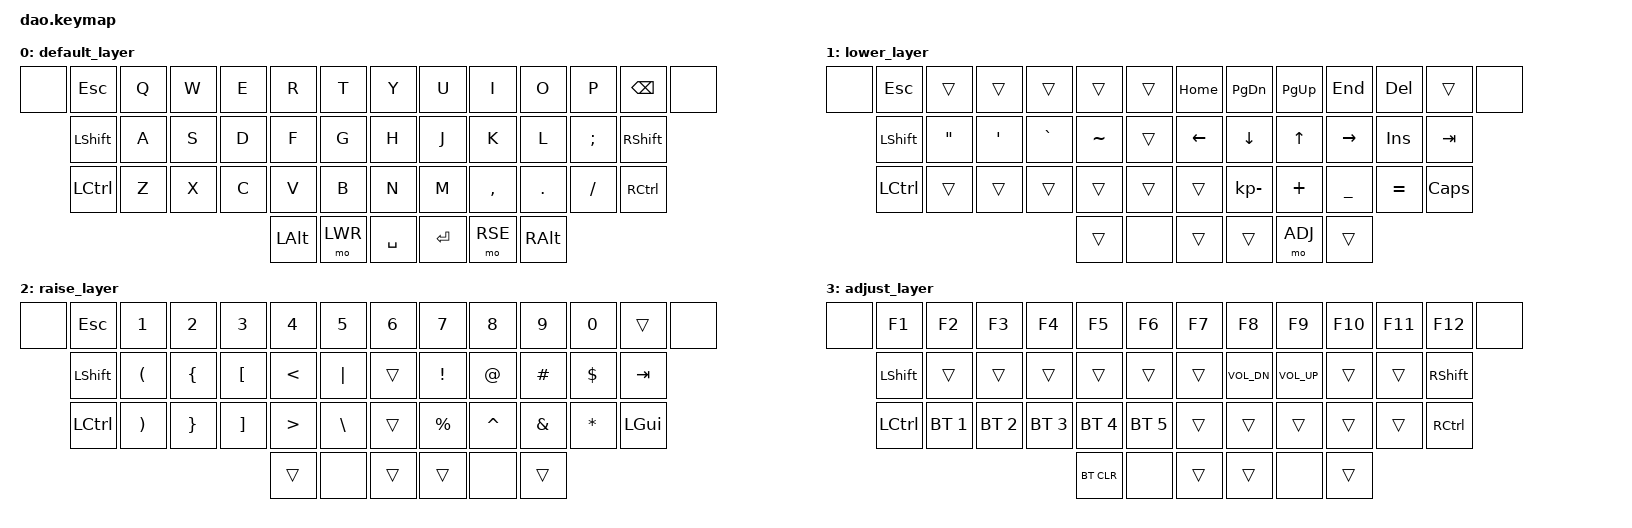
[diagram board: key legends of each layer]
/*
 * Copyright (c) 2020 The ZMK Contributors
 *
 * SPDX-License-Identifier: MIT
 * To use home rows - &hm LSHFT F
 */

#include <behaviors.dtsi>
#include <dt-bindings/zmk/keys.h>
#include <dt-bindings/zmk/bt.h>

#define DEF 0
#define LWR 1
#define RSE 2
#define ADJ 3

/ {
    
    keymap {
        compatible = "zmk,keymap";

        default_layer {
    // .-------------------------------------------------------------.       .----------------------------------------------------------------.
    // |   ESC        |    Q   |    W   |   E    |    R    |    T    |       |   Y     |    U    |    I    |    O    |     P    |     BSPC    |
    // |--------------+--------+--------+--------+---------+---------|       |---------+---------+---------+---------+----------+-------------|
    // |   SHIFT      |    A   |    S   |   D    |    F    |    G    |       |   H     |    J    |    K    |    L    |    ;:    |    SHIFT    |
    // |--------------+--------+--------+--------+---------+---------|       |---------+---------+---------+---------+----------+-------------|
    // |   CTRL       |    Z   |    X   |   C    |    V    |    B    |       |   N     |    M    |    ,    |    .    |    /?    |     CTRL    |
    // '--------------------------------+--------+---------+---------+       |---------+---------+---------+----------------------------------'
    //                                  |  ALT   |   LWR   |   SPC   |       |  ENT    |   RSE   |   ALT   |
    //                                  '--------+---------+---------'       '---------+---------+---------'
        bindings = <
          &none &kp ESC     &kp Q  &kp W  &kp E  &kp R      &kp T       &kp Y      &kp U    &kp I      &kp O     &kp P      &kp BSPC     &none
                &kp LSHIFT  &kp A  &kp S  &kp D  &kp F      &kp G       &kp H      &kp J    &kp K      &kp L     &kp SEMI   &kp RSHIFT
                &kp LCTRL   &kp Z  &kp X  &kp C  &kp V      &kp B       &kp N      &kp M    &kp COMMA  &kp DOT   &kp FSLH   &kp RCTRL
                                                 &kp LALT   &mo LWR     &kp SPACE  &kp RET  &mo RSE    &kp RALT
            >;
        };
                    
        lower_layer {
    // .-------------------------------------------------------------.       .----------------------------------------------------------------.
    // |   ESC        |        |        |        |         |         |       |   HOME  |    PD   |    PU   |   END   |    DEL   |             |
    // |--------------+--------+--------+--------+---------+---------|       |---------+---------+---------+---------+----------+-------------|
    // |   SHFT       |    "   |    '   |    `   |    ~    |         |       |   LEFT  |   DOWN  |    UP   |  RIGHT  |    INS   |     TAB     |
    // |--------------+--------+--------+--------+---------+---------|       |---------+---------+---------+---------+----------+-------------|
    // |   CTRL       |        |        |        |         |         |       |         |    -    |    +    |    _    |     =    |     CAPS    |
    // '--------------------------------+--------+---------+---------+       |---------+---------+---------+----------------------------------'
    //                                  |  ALT   |         |   SPC   |       |   ENT   |   ADJ   |   ALT   |
    //                                  '--------+---------+---------'       '---------+---------+---------'
          bindings = <
          &none &kp ESC     &trans  &trans  &trans    &trans     &trans      &kp HOME  &kp PG_DN    &kp PG_UP  &kp END    &kp DEL    &trans    &none
                &kp LSHIFT  &kp DQT &kp SQT &kp GRAVE &kp TILDE  &trans      &kp LEFT  &kp DOWN     &kp UP     &kp RIGHT  &kp INS    &kp TAB
                &kp LCTRL   &trans  &trans  &trans    &trans     &trans      &trans    &kp KP_MINUS &kp PLUS   &kp UNDER  &kp EQUAL  &kp CAPS
                                            &trans    &none      &trans      &trans    &mo ADJ      &trans
            >;
        };
                    
        raise_layer {
    // .-------------------------------------------------------------.       .----------------------------------------------------------------.
    // |   ESC        |    1   |    2   |    3   |    4    |    5    |       |    6    |    7    |    8    |    9    |     0    |     BSPC    |
    // |--------------+--------+--------+--------+---------+---------|       |---------+---------+---------+---------+----------+-------------|
    // |   SHFT       |    (   |    {   |    [   |    <    |    |    |       |         |    !    |    @    |    #    |     $    |     TAB     |
    // |--------------+--------+--------+--------+---------+---------|       |---------+---------+---------+---------+----------+-------------|
    // |   CTRL       |    )   |    }   |    ]   |    >    |    \    |       |         |    %    |    ^    |    &    |     *    |     GUI     |
    // '--------------------------------+--------+---------+---------+       |---------+---------+---------+----------------------------------'
    //                                  |  ALT   |         |   SPC   |       |         |         |         |
    //                                  '--------+---------+---------'       '---------+---------+---------'
        bindings = <
        &none   &kp ESC    &kp N1   &kp N2     &kp N3    &kp N4   &kp N5        &kp N6   &kp N7    &kp N8      &kp N9    &kp N0   &trans   &none
                &kp LSHIFT &kp LPAR &kp LBRC   &kp LBKT  &kp LT   &kp PIPE      &trans   &kp EXCL  &kp AT_SIGN &kp HASH  &kp DLLR &kp TAB
                &kp LCTRL  &kp RPAR &kp RBRC   &kp RBKT  &kp GT   &kp BSLH      &trans   &kp PRCNT &kp CARET   &kp AMPS  &kp STAR &kp LGUI
                                               &trans    &none    &trans        &trans   &none     &trans
            >;
        };

        adjust_layer {
    // .-------------------------------------------------------------.       .----------------------------------------------------------------.
    // |   F1         |   F2   |   F3   |   F4   |   F5    |   F6    |       |    F7   |    F8   |   F9    |   F10   |    F11   |     F12     |
    // |--------------+--------+--------+--------+---------+---------|       |---------+---------+---------+---------+----------+-------------|
    // |   SHIFT      |        |        |        |         |         |       |         |   VOL-  |   VOL+  |         |          |   SHIFT     |
    // |--------------+--------+--------+--------+---------+---------|       |---------+---------+---------+---------+----------+-------------|
    // |   CTRL       |  BT1   |  BT2   |  BT3   |  BT4    |  BT5    |       |         |         |         |         |          |    CTRL     |
    // '--------------------------------+--------+---------+---------+       |---------+---------+---------+----------------------------------'
    //                                  |  BTCLR |         |         |       |         |         |         |
    //                                  '--------+---------+---------'       '---------+---------+---------'
          bindings = <
          &none &kp F1         &kp F2       &kp F3          &kp F4        &kp F5        &kp F6                    &kp F7  &kp F8         &kp F9       &kp F10    &kp F11      &kp F12         &none
                &kp LSHIFT     &trans       &trans          &trans        &trans        &trans                    &trans  &kp K_VOL_DN   &kp K_VOL_UP &trans     &trans       &kp RSHIFT
                &kp LCTRL      &bt BT_SEL 1 &bt BT_SEL 2    &bt BT_SEL 3  &bt BT_SEL 4  &bt BT_SEL 5              &trans  &trans         &trans       &trans     &trans       &kp RCTRL
                                                            &bt BT_CLR    &none         &trans                    &trans  &none          &trans
            >;
        };
    };
};
